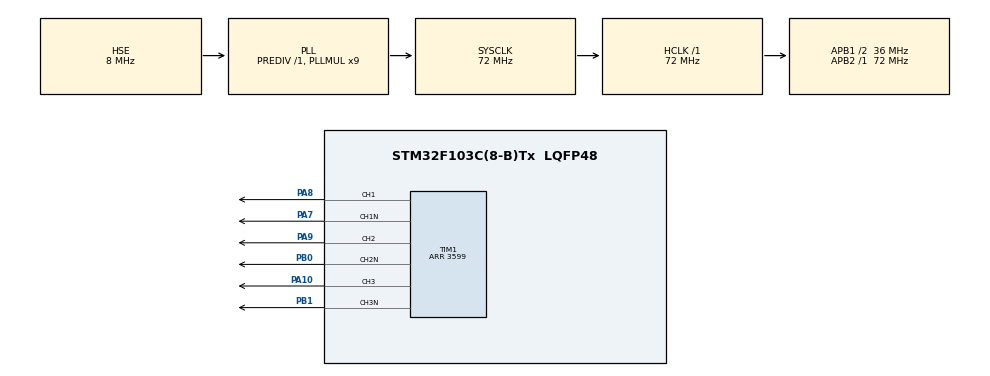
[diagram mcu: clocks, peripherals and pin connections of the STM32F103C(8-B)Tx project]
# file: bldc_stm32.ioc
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Mcu.Family=STM32F1
Mcu.Name=STM32F103C(8-B)Tx
Mcu.Package=LQFP48
NVIC.PriorityGroup=NVIC_PRIORITYGROUP_4
NVIC.TIM2_IRQn=true\:0\:0\:false\:false\:true\:true\:true
PA10.Signal=S_TIM1_CH3
PA13.Mode=Serial_Wire
PA13.Signal=SYS_JTMS-SWDIO
PA14.Mode=Serial_Wire
PA14.Signal=SYS_JTCK-SWCLK
PA7.Mode=Output Compare1 CH1 CH1N
PA7.Signal=TIM1_CH1N
PA8.Signal=S_TIM1_CH1
PA9.Signal=S_TIM1_CH2
PB0.Mode=Output Compare2 CH2 CH2N
PB0.Signal=TIM1_CH2N
PB1.Mode=PWM Generation3 CH3 CH3N
PB1.Signal=TIM1_CH3N
PD0-OSC_IN.Mode=HSE-External-Oscillator
PD0-OSC_IN.Signal=RCC_OSC_IN
PD1-OSC_OUT.Mode=HSE-External-Oscillator
PD1-OSC_OUT.Signal=RCC_OSC_OUT
ProjectManager.HeapSize=0x200
ProjectManager.StackSize=0x400
ProjectManager.TargetToolchain=STM32CubeIDE
RCC.AHBFreq_Value=72000000
RCC.APB1CLKDivider=RCC_HCLK_DIV2
RCC.APB1Freq_Value=36000000
RCC.APB1TimFreq_Value=72000000
RCC.APB2Freq_Value=72000000
RCC.APB2TimFreq_Value=72000000
RCC.HCLKFreq_Value=72000000
RCC.PLLMUL=RCC_PLL_MUL9
RCC.PLLSourceVirtual=RCC_PLLSOURCE_HSE
RCC.SYSCLKFreq_VALUE=72000000
RCC.SYSCLKSource=RCC_SYSCLKSOURCE_PLLCLK
RCC.USBFreq_Value=72000000
SH.S_TIM1_CH1.0=TIM1_CH1,Output Compare1 CH1 CH1N
SH.S_TIM1_CH2.0=TIM1_CH2,Output Compare2 CH2 CH2N
SH.S_TIM1_CH3.0=TIM1_CH3,PWM Generation3 CH3 CH3N
TIM1.Channel-Output\ Compare1\ CH1\ CH1N=TIM_CHANNEL_1
TIM1.Channel-Output\ Compare2\ CH2\ CH2N=TIM_CHANNEL_2
TIM1.Channel-PWM\ Generation3\ CH3\ CH3N=TIM_CHANNEL_3
TIM1.DeadTime=10
TIM1.Period=3599
TIM2.Period=99
TIM2.Prescaler=71
VP_TIM1_VS_ClockSourceINT.Mode=Internal
VP_TIM2_VS_ClockSourceINT.Mode=Internal
board=custom

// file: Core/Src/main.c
/* USER CODE BEGIN Header */
/**
  ******************************************************************************
  * @file           : main.c
  * @brief          : Main program body
  ******************************************************************************
  * @attention
  *
  * <h2><center>&copy; Copyright (c) 2026 STMicroelectronics.
  * All rights reserved.</center></h2>
  *
  * This software component is licensed by ST under BSD 3-Clause license,
  * the "License"; You may not use this file except in compliance with the
  * License. You may obtain a copy of the License at:
  *                        opensource.org/licenses/BSD-3-Clause
  *
  ******************************************************************************
  */
/* USER CODE END Header */
#include "main.h"

/* USER CODE BEGIN Includes */
#include "Controller.h"
#include "Protection.h"
#include "StateControl.h"
#include "CalibAdc.h"
#include "BLDC_MOTOR_ASW.h"
/* USER CODE END Includes */

TIM_HandleTypeDef htim1;
TIM_HandleTypeDef htim2;

void SystemClock_Config(void);
static void MX_GPIO_Init(void);
static void MX_TIM2_Init(void);
static void MX_TIM1_Init(void);

/* USER CODE BEGIN 0 */
volatile uint8_t OS_Task_1ms = 0;
volatile uint8_t OS_Task_10ms = 0;
volatile uint8_t OS_Task_100ms = 0;

static uint16_t OS_Count_1ms = 0;
static uint16_t OS_Count_10ms = 0;
static uint16_t OS_Count_100ms = 0;

void HAL_TIM_PeriodElapsedCallback(TIM_HandleTypeDef *htim)
{
	if (htim->Instance == TIM2)
	{
		Controller_Function();

		/* 10 kHz -> 1 ms */
		if (++OS_Count_1ms >= 10U)
		{
			OS_Count_1ms = 0U;
			OS_Task_1ms = 1U;

			/* 1 ms -> 10 ms */
			if (++OS_Count_10ms >= 10U)
			{
				OS_Count_10ms = 0U;
				OS_Task_10ms = 1U;

				/* 10 ms -> 100 ms */
				if (++OS_Count_100ms >= 10U)
				{
					OS_Count_100ms = 0U;
					OS_Task_100ms = 1U;
				}
			}
		}
	}
}
/* USER CODE END 0 */

int main(void)
{

  /* MCU Configuration--------------------------------------------------------*/

  /* Reset of all peripherals, Initializes the Flash interface and the Systick. */
  HAL_Init();

  /* Configure the system clock */
  SystemClock_Config();

  /* Initialize all configured peripherals */
  MX_GPIO_Init();
  MX_TIM2_Init();
  MX_TIM1_Init();
  /* USER CODE BEGIN 2 */
  BLDC_MOTOR_ASW_initialize();
  HAL_TIM_Base_Start_IT(&htim2);

  HAL_TIM_PWM_Start(&htim1, TIM_CHANNEL_1);
  HAL_TIM_PWM_Start(&htim1, TIM_CHANNEL_2);
  HAL_TIM_PWM_Start(&htim1, TIM_CHANNEL_3);

  HAL_TIMEx_PWMN_Start(&htim1, TIM_CHANNEL_1);
  HAL_TIMEx_PWMN_Start(&htim1, TIM_CHANNEL_2);
  HAL_TIMEx_PWMN_Start(&htim1, TIM_CHANNEL_3);

  /* USER CODE END 2 */

  /* Infinite loop */
  while (1)
  {

    /* USER CODE BEGIN 3 */
	/* Task 1ms */
	if (OS_Task_1ms)
	{
		OS_Task_1ms = 0U;
	}

	/* Task 10ms */
	if (OS_Task_10ms)
	{
		OS_Task_10ms = 0U;

		CalibAdc_Function();
		Protection_Function();
	}

	/* Task 100ms */
	if (OS_Task_100ms)
	{
		OS_Task_100ms = 0U;

		StateControl_Function();
	}

  }
  /* USER CODE END 3 */
}

void SystemClock_Config(void)
{
  RCC_OscInitTypeDef RCC_OscInitStruct = {0};
  RCC_ClkInitTypeDef RCC_ClkInitStruct = {0};

  /** Initializes the RCC Oscillators according to the specified parameters
  * in the RCC_OscInitTypeDef structure.
  */
  RCC_OscInitStruct.OscillatorType = RCC_OSCILLATORTYPE_HSE;
  RCC_OscInitStruct.HSEState = RCC_HSE_ON;
  RCC_OscInitStruct.HSEPredivValue = RCC_HSE_PREDIV_DIV1;
  RCC_OscInitStruct.HSIState = RCC_HSI_ON;
  RCC_OscInitStruct.PLL.PLLState = RCC_PLL_ON;
  RCC_OscInitStruct.PLL.PLLSource = RCC_PLLSOURCE_HSE;
  RCC_OscInitStruct.PLL.PLLMUL = RCC_PLL_MUL9;
  if (HAL_RCC_OscConfig(&RCC_OscInitStruct) != HAL_OK)
  {
    Error_Handler();
  }
  /** Initializes the CPU, AHB and APB buses clocks
  */
  RCC_ClkInitStruct.ClockType = RCC_CLOCKTYPE_HCLK|RCC_CLOCKTYPE_SYSCLK
                              |RCC_CLOCKTYPE_PCLK1|RCC_CLOCKTYPE_PCLK2;
  RCC_ClkInitStruct.SYSCLKSource = RCC_SYSCLKSOURCE_PLLCLK;
  RCC_ClkInitStruct.AHBCLKDivider = RCC_SYSCLK_DIV1;
  RCC_ClkInitStruct.APB1CLKDivider = RCC_HCLK_DIV2;
  RCC_ClkInitStruct.APB2CLKDivider = RCC_HCLK_DIV1;

  if (HAL_RCC_ClockConfig(&RCC_ClkInitStruct, FLASH_LATENCY_2) != HAL_OK)
  {
    Error_Handler();
  }
}

static void MX_TIM1_Init(void)
{

  TIM_ClockConfigTypeDef sClockSourceConfig = {0};
  TIM_MasterConfigTypeDef sMasterConfig = {0};
  TIM_OC_InitTypeDef sConfigOC = {0};
  TIM_BreakDeadTimeConfigTypeDef sBreakDeadTimeConfig = {0};

  htim1.Instance = TIM1;
  htim1.Init.Prescaler = 0;
  htim1.Init.CounterMode = TIM_COUNTERMODE_UP;
  htim1.Init.Period = 3599;
  htim1.Init.ClockDivision = TIM_CLOCKDIVISION_DIV1;
  htim1.Init.RepetitionCounter = 0;
  htim1.Init.AutoReloadPreload = TIM_AUTORELOAD_PRELOAD_DISABLE;
  if (HAL_TIM_Base_Init(&htim1) != HAL_OK)
  {
    Error_Handler();
  }
  sClockSourceConfig.ClockSource = TIM_CLOCKSOURCE_INTERNAL;
  if (HAL_TIM_ConfigClockSource(&htim1, &sClockSourceConfig) != HAL_OK)
  {
    Error_Handler();
  }
  if (HAL_TIM_OC_Init(&htim1) != HAL_OK)
  {
    Error_Handler();
  }
  if (HAL_TIM_PWM_Init(&htim1) != HAL_OK)
  {
    Error_Handler();
  }
  sMasterConfig.MasterOutputTrigger = TIM_TRGO_RESET;
  sMasterConfig.MasterSlaveMode = TIM_MASTERSLAVEMODE_DISABLE;
  if (HAL_TIMEx_MasterConfigSynchronization(&htim1, &sMasterConfig) != HAL_OK)
  {
    Error_Handler();
  }
  sConfigOC.OCMode = TIM_OCMODE_TIMING;
  sConfigOC.Pulse = 0;
  sConfigOC.OCPolarity = TIM_OCPOLARITY_HIGH;
  sConfigOC.OCNPolarity = TIM_OCNPOLARITY_HIGH;
  sConfigOC.OCFastMode = TIM_OCFAST_DISABLE;
  sConfigOC.OCIdleState = TIM_OCIDLESTATE_RESET;
  sConfigOC.OCNIdleState = TIM_OCNIDLESTATE_RESET;
  if (HAL_TIM_OC_ConfigChannel(&htim1, &sConfigOC, TIM_CHANNEL_1) != HAL_OK)
  {
    Error_Handler();
  }
  if (HAL_TIM_OC_ConfigChannel(&htim1, &sConfigOC, TIM_CHANNEL_2) != HAL_OK)
  {
    Error_Handler();
  }
  sConfigOC.OCMode = TIM_OCMODE_PWM1;
  if (HAL_TIM_PWM_ConfigChannel(&htim1, &sConfigOC, TIM_CHANNEL_3) != HAL_OK)
  {
    Error_Handler();
  }
  sBreakDeadTimeConfig.OffStateRunMode = TIM_OSSR_DISABLE;
  sBreakDeadTimeConfig.OffStateIDLEMode = TIM_OSSI_DISABLE;
  sBreakDeadTimeConfig.LockLevel = TIM_LOCKLEVEL_OFF;
  sBreakDeadTimeConfig.DeadTime = 10;
  sBreakDeadTimeConfig.BreakState = TIM_BREAK_DISABLE;
  sBreakDeadTimeConfig.BreakPolarity = TIM_BREAKPOLARITY_HIGH;
  sBreakDeadTimeConfig.AutomaticOutput = TIM_AUTOMATICOUTPUT_DISABLE;
  if (HAL_TIMEx_ConfigBreakDeadTime(&htim1, &sBreakDeadTimeConfig) != HAL_OK)
  {
    Error_Handler();
  }
  HAL_TIM_MspPostInit(&htim1);

}

static void MX_TIM2_Init(void)
{

  TIM_ClockConfigTypeDef sClockSourceConfig = {0};
  TIM_MasterConfigTypeDef sMasterConfig = {0};

  htim2.Instance = TIM2;
  htim2.Init.Prescaler = 71;
  htim2.Init.CounterMode = TIM_COUNTERMODE_UP;
  htim2.Init.Period = 99;
  htim2.Init.ClockDivision = TIM_CLOCKDIVISION_DIV1;
  htim2.Init.AutoReloadPreload = TIM_AUTORELOAD_PRELOAD_DISABLE;
  if (HAL_TIM_Base_Init(&htim2) != HAL_OK)
  {
    Error_Handler();
  }
  sClockSourceConfig.ClockSource = TIM_CLOCKSOURCE_INTERNAL;
  if (HAL_TIM_ConfigClockSource(&htim2, &sClockSourceConfig) != HAL_OK)
  {
    Error_Handler();
  }
  sMasterConfig.MasterOutputTrigger = TIM_TRGO_RESET;
  sMasterConfig.MasterSlaveMode = TIM_MASTERSLAVEMODE_DISABLE;
  if (HAL_TIMEx_MasterConfigSynchronization(&htim2, &sMasterConfig) != HAL_OK)
  {
    Error_Handler();
  }

}

static void MX_GPIO_Init(void)
{

  /* GPIO Ports Clock Enable */
  __HAL_RCC_GPIOD_CLK_ENABLE();
  __HAL_RCC_GPIOA_CLK_ENABLE();
  __HAL_RCC_GPIOB_CLK_ENABLE();

}

void Error_Handler(void)
{
  __disable_irq();
  while (1)
  {
  }
}

/************************ (C) COPYRIGHT STMicroelectronics *****END OF FILE****/
